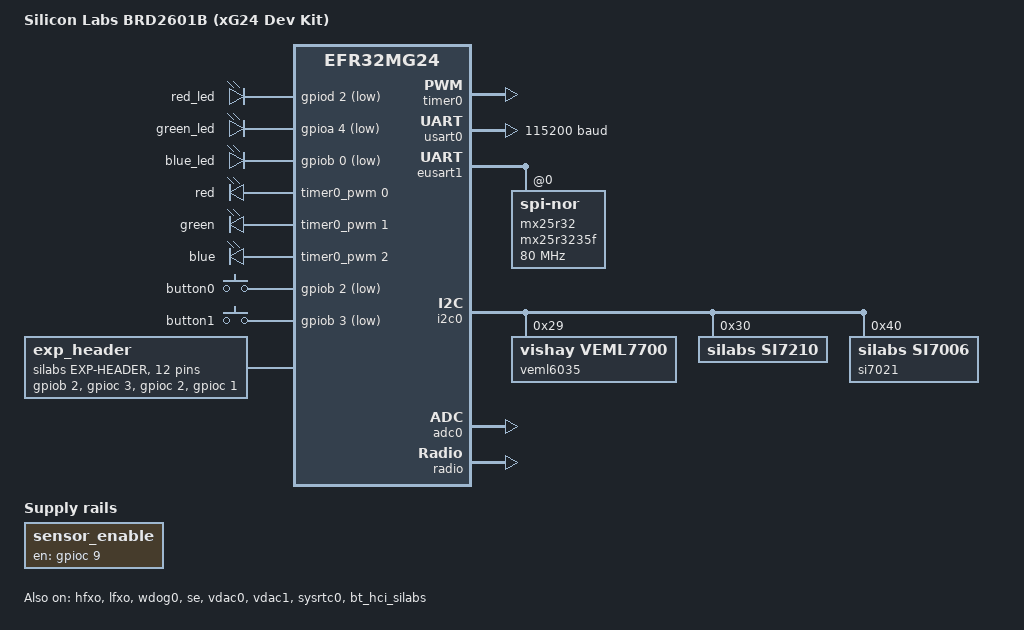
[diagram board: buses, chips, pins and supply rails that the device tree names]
/*
 * Copyright (c) 2020 TriaGnoSys GmbH
 *
 * SPDX-License-Identifier: Apache-2.0
 */

/dts-v1/;
#include <silabs/xg24/efr32mg24b310f1536im48.dtsi>
#include <zephyr/dt-bindings/input/input-event-codes.h>
#include <zephyr/dt-bindings/regulator/silabs_dcdc.h>
#include <zephyr/dt-bindings/pwm/pwm.h>
#include "xg24_dk2601b-pinctrl.dtsi"

/ {
	model = "Silicon Labs BRD2601B (xG24 Dev Kit)";
	compatible = "silabs,xg24_brd2601b", "silabs,efr32mg24";

	chosen {
		zephyr,bt-hci = &bt_hci_silabs;
		zephyr,code-partition = &slot0_partition;
		zephyr,console = &usart0;
		zephyr,flash = &flash0;
		zephyr,shell-uart = &usart0;
		zephyr,sram = &sram0;
		zephyr,uart-pipe = &usart0;
	};

	aliases {
		led0 = &red_led;
		led1 = &green_led;
		led2 = &blue_led;
		pwm-led0 = &red_pwm_led;
		pwm-led1 = &green_pwm_led;
		pwm-led2 = &blue_pwm_led;
		sw0 = &button0;
		sw1 = &button1;
		watchdog0 = &wdog0;
	};

	leds {
		compatible = "gpio-leds";

		red_led: led_2 {
			gpios = <&gpiod 2 GPIO_ACTIVE_LOW>;
		};

		green_led: led_0 {
			gpios = <&gpioa 4 GPIO_ACTIVE_LOW>;
		};

		blue_led: led_1 {
			gpios = <&gpiob 0 GPIO_ACTIVE_LOW>;
		};
	};

	pwmleds {
		compatible = "pwm-leds";

		red_pwm_led: pwm_led_0 {
			pwms = <&timer0_pwm 0 PWM_MSEC(20) PWM_POLARITY_INVERTED>;
			label = "red";
		};

		green_pwm_led: pwm_led_1 {
			pwms = <&timer0_pwm 1 PWM_MSEC(20) PWM_POLARITY_INVERTED>;
			label = "green";
		};

		blue_pwm_led: pwm_led_2 {
			pwms = <&timer0_pwm 2 PWM_MSEC(20) PWM_POLARITY_INVERTED>;
			label = "blue";
		};
	};

	buttons {
		compatible = "gpio-keys";

		button0: button_0 {
			gpios = <&gpiob 2 GPIO_ACTIVE_LOW>;
			zephyr,code = <INPUT_KEY_0>;
		};

		button1: button_1 {
			gpios = <&gpiob 3 GPIO_ACTIVE_LOW>;
			zephyr,code = <INPUT_KEY_1>;
		};
	};

	sensor_enable: gpio_switch_0 {
		compatible = "regulator-fixed";
		regulator-boot-on;
		regulator-name = "sensor_enable";
		enable-gpios = <&gpioc 9 GPIO_ACTIVE_HIGH>;
	};

	exp_header: exp-header {
		compatible = "silabs,exp-header";
		#gpio-cells = <2>;
		gpio-map = <3 0 &gpiob 2 0>,
			   <4 0 &gpioc 3 0>,
			   <6 0 &gpioc 2 0>,
			   <8 0 &gpioc 1 0>,
			   <9 0 &gpiob 0 0>,
			   <10 0 &gpioa 7 0>,
			   <11 0 &gpiob 3 0>,
			   <12 0 &gpioa 5 0>,
			   <13 0 &gpiod 2 0>,
			   <14 0 &gpioa 6 0>,
			   <15 0 &gpioc 4 0>,
			   <16 0 &gpioc 5 0>;
		gpio-map-mask = <0xffffffff 0x0>;
		gpio-map-pass-thru = <0x0 GPIO_DT_FLAGS_MASK>;
	};
};

&timer0 {
	status = "okay";

	timer0_pwm: pwm {
		pinctrl-0 = <&timer0_default>;
		pinctrl-names = "default";
		status = "okay";
	};
};

&cpu0 {
	clock-frequency = <78000000>;
};

&itm {
	pinctrl-0 = <&itm_default>;
	pinctrl-names = "default";
	swo-ref-frequency = <DT_FREQ_M(78)>;
};

&hfxo {
	ctune = <140>;
	precision = <50>;
	status = "okay";
};

&lfxo {
	ctune = <63>;
	precision = <50>;
	status = "okay";
};

&hfrcodpll {
	clock-frequency = <DT_FREQ_M(78)>;
	clocks = <&hfxo>;
	dpll-autorecover;
	dpll-edge = "fall";
	dpll-lock = "phase";
	dpll-m = <1919>;
	dpll-n = <3839>;
};

&em23grpaclk {
	clocks = <&lfxo>;
};

&em4grpaclk {
	clocks = <&lfxo>;
};

&sysrtcclk {
	clocks = <&lfxo>;
};

&wdog0clk {
	clocks = <&lfxo>;
};

&wdog1clk {
	clocks = <&lfxo>;
};

&usart0 {
	current-speed = <115200>;
	pinctrl-0 = <&usart0_default>;
	pinctrl-names = "default";
	status = "okay";
};

&eusart1 {
	compatible = "silabs,eusart-spi";
	#address-cells = <1>;
	#size-cells = <0>;
	clock-frequency = <4000000>;
	pinctrl-0 = <&eusart1_default>;
	pinctrl-names = "default";
	status = "okay";

	cs-gpios = <&gpioc 0 GPIO_ACTIVE_LOW>;

	mx25r32: mx25r3235f@0 {
		compatible = "jedec,spi-nor";
		reg = <0>;
		dpd-wakeup-sequence = <30000 20 35000>;
		has-dpd;
		jedec-id = [c2 28 16];
		mxicy,mx25r-power-mode = "low-power";
		size = <0x2000000>;
		spi-max-frequency = <80000000>;
		zephyr,pm-device-runtime-auto;
	};
};

&i2c0 {
	pinctrl-0 = <&i2c0_default>;
	pinctrl-names = "default";
	status = "okay";

	veml6035: veml6035@29 {
		compatible = "vishay,veml7700";
		reg = <0x29>;
	};

	si7210: si7210@30 {
		compatible = "silabs,si7210";
		reg = <0x30>;
	};

	si7021: si7021@40 {
		compatible = "silabs,si7006";
		reg = <0x40>;
	};
};

&gpio {
	status = "okay";
};

&gpioa {
	status = "okay";
};

&gpiob {
	status = "okay";
};

&gpioc {
	status = "okay";
};

&gpiod {
	status = "okay";
};

&wdog0 {
	status = "okay";
};

&se {
	status = "okay";
};

&dcdc {
	regulator-boot-on;
	regulator-initial-mode = <SILABS_DCDC_MODE_BUCK>;
	silabs,pfmx-peak-current-milliamp = <120>;
	status = "okay";
};

&flash0 {
	partitions {
		compatible = "fixed-partitions";
		#address-cells = <1>;
		#size-cells = <1>;

		/* Reserve 48 kB for the bootloader */
		boot_partition: partition@0 {
			reg = <0x0 DT_SIZE_K(48)>;
			label = "mcuboot";
			read-only;
		};

		/* Reserve 728 kB for the application in slot 0 */
		slot0_partition: partition@c000 {
			reg = <0x0000c000 DT_SIZE_K(728)>;
			label = "image-0";
		};

		/* Reserve 728 kB for the application in slot 1 */
		slot1_partition: partition@c2000 {
			reg = <0x000c2000 DT_SIZE_K(728)>;
			label = "image-1";
		};

		/* Set 32 kB of storage at the end of the 1536 kB of flash */
		storage_partition: partition@178000 {
			reg = <0x00178000 DT_SIZE_K(32)>;
			label = "storage";
		};
	};
};

&adc0 {
	status = "okay";
};

&vdac0 {
	status = "okay";
};

&vdac1 {
	status = "okay";
};

&sysrtc0 {
	status = "okay";
};

&radio {
	pa-voltage-mv = <1800>;
};

&bt_hci_silabs {
	status = "okay";
};
